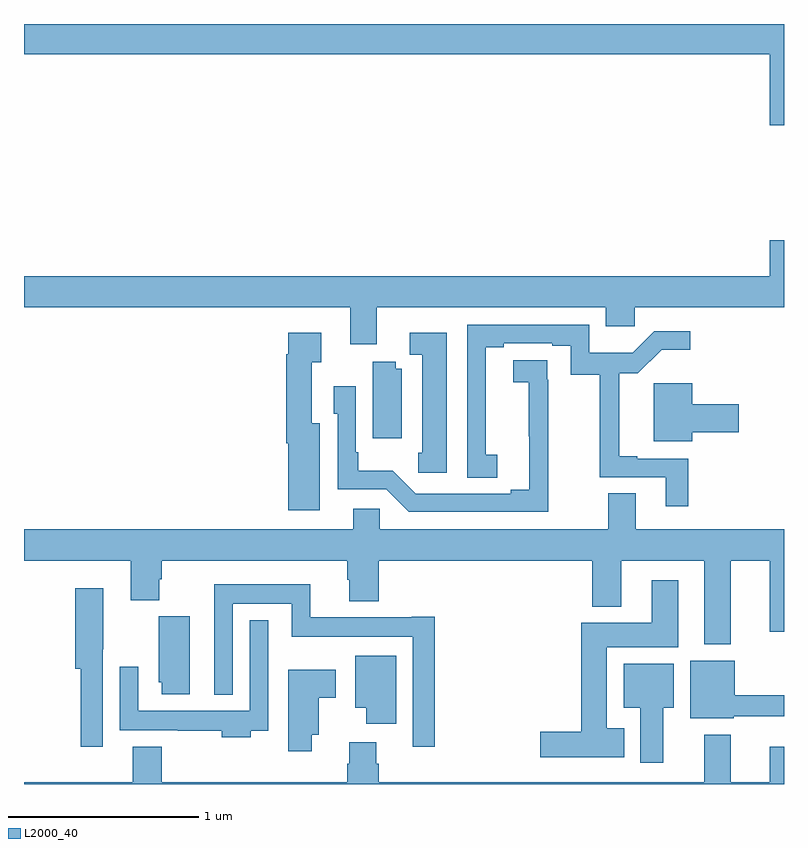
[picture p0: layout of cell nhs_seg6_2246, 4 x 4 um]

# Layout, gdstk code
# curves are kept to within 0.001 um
import gdstk
lib = gdstk.Library(unit=1e-6, precision=1e-09)
def P(c, l, *ps):  # polygons
    for p in ps: c.add(gdstk.Polygon(p, *l))
L2000_40 = (2000, 40)

nhs_seg6_2246 = lib.new_cell('nhs_seg6_2246')
P(nhs_seg6_2246, L2000_40, [(249,943.5),(245,943.5),(245,943.34),(248.924,943.34),(248.924,942.966),(249,942.966)],
  [(246.856,942.008),(248.063,942.008),(248.063,941.91),(248.215,941.91),(248.215,942.008),(249,942.008),(249,942.361),(248.924,942.361),(248.924,942.172),(245,942.172),(245,942.008),(246.716,942.008),(246.716,941.814),(246.856,941.814)],
  [(248.495,941.211),(248.227,941.211),(248.227,941.224),(248.132,941.224),(248.132,941.661),(248.231,941.661),(248.357,941.786),(248.506,941.786),(248.506,941.883),(248.316,941.883),(248.203,941.77),(247.974,941.77),(247.974,941.916),(247.332,941.916),(247.332,941.113),(247.492,941.113),(247.492,941.233),(247.431,941.233),(247.431,941.537),(247.429,941.537),(247.429,941.8),(247.525,941.8),(247.525,941.82),(247.781,941.82),(247.781,941.806),(247.878,941.806),(247.878,941.653),(248.029,941.653),(248.029,941.115),(248.378,941.115),(248.378,940.962),(248.495,940.962)],
  [(246.556,941.398),(246.514,941.398),(246.514,941.719),(246.565,941.719),(246.565,941.875),(246.392,941.875),(246.392,941.762),(246.38,941.762),(246.38,941.294),(246.392,941.294),(246.392,940.941),(246.556,940.941)],
  [(247.225,941.875),(247.029,941.875),(247.029,941.76),(247.097,941.76),(247.097,941.244),(247.075,941.244),(247.075,941.139),(247.225,941.139)],
  [(247.76,941.627),(247.754,941.627),(247.754,941.729),(247.575,941.729),(247.575,941.614),(247.657,941.614),(247.658,941.048),(247.562,941.048),(247.562,941.028),(247.062,941.028),(246.941,941.149),(246.76,941.149),(246.76,941.245),(246.747,941.245),(246.747,941.593),(246.63,941.593),(246.63,941.448),(246.651,941.448),(246.651,941.052),(246.906,941.052),(247.026,940.932),(247.76,940.932)],
  [(246.988,941.686),(246.956,941.686),(246.956,941.723),(246.836,941.723),(246.836,941.319),(246.988,941.319)],
  [(248.518,941.351),(248.761,941.351),(248.761,941.498),(248.518,941.498),(248.518,941.608),(248.315,941.608),(248.315,941.303),(248.518,941.303)],
  [(248.719,940.676),(248.924,940.676),(248.924,940.302),(249,940.302),(249,940.84),(248.221,940.84),(248.221,941.03),(248.074,941.03),(248.074,940.84),(246.873,940.84),(246.873,940.95),(246.734,940.95),(246.734,940.84),(245,940.84),(245,940.676),(245.561,940.676),(245.561,940.468),(245.713,940.468),(245.713,940.577),(245.726,940.577),(245.726,940.676),(246.701,940.676),(246.701,940.575),(246.713,940.575),(246.713,940.463),(246.866,940.463),(246.866,940.676),(247.991,940.676),(247.991,940.433),(248.143,940.433),(248.143,940.676),(248.579,940.676),(248.579,940.235),(248.719,940.235)],
  [(248.158,939.793),(248.068,939.793),(248.068,940.22),(248.443,940.22),(248.443,940.573),(248.303,940.573),(248.303,940.348),(247.934,940.348),(247.934,939.776),(247.716,939.776),(247.716,939.641),(248.158,939.641)],
  [(247.163,940.381),(247.04,940.381),(247.04,940.378),(246.506,940.378),(246.506,940.552),(246.002,940.552),(246.002,939.971),(246.099,939.971),(246.099,940.448),(246.408,940.448),(246.408,940.274),(247.047,940.274),(247.047,939.696),(247.163,939.696)],
  [(245.415,940.21),(245.416,940.21),(245.416,940.531),(245.27,940.531),(245.27,940.106),(245.299,940.106),(245.299,939.696),(245.415,939.696)],
  [(245.872,940.383),(245.708,940.383),(245.708,940.035),(245.726,940.035),(245.726,939.972),(245.872,939.972)],
  [(246.193,939.78),(246.285,939.78),(246.285,940.363),(246.189,940.363),(246.189,939.886),(245.601,939.886),(245.601,940.117),(245.505,940.117),(245.505,939.782),(245.809,939.782),(245.809,939.78),(246.041,939.78),(246.041,939.746),(246.193,939.746)],
  [(246.958,940.174),(246.743,940.174),(246.743,939.902),(246.8,939.902),(246.8,939.816),(246.958,939.816)],
  [(248.736,939.857),(249,939.857),(249,939.967),(248.74,939.967),(248.74,940.15),(248.507,940.15),(248.507,939.845),(248.736,939.845)],
  [(248.365,939.902),(248.419,939.902),(248.419,940.132),(248.156,940.132),(248.156,939.902),(248.243,939.902),(248.243,939.612),(248.365,939.612)],
  [(246.514,939.758),(246.55,939.758),(246.55,939.955),(246.64,939.955),(246.64,940.102),(246.392,940.102),(246.392,939.672),(246.514,939.672)],
  [(249,939.697),(248.924,939.697),(248.924,939.508),(248.719,939.508),(248.719,939.76),(248.579,939.76),(248.579,939.508),(246.866,939.508),(246.866,939.606),(246.853,939.606),(246.853,939.721),(246.713,939.721),(246.713,939.606),(246.701,939.606),(246.701,939.508),(245.726,939.508),(245.726,939.697),(245.573,939.697),(245.573,939.508),(245,939.508),(245,939.5),(249,939.5)])

lib.write_gds('nhs_seg6_2246.gds')
